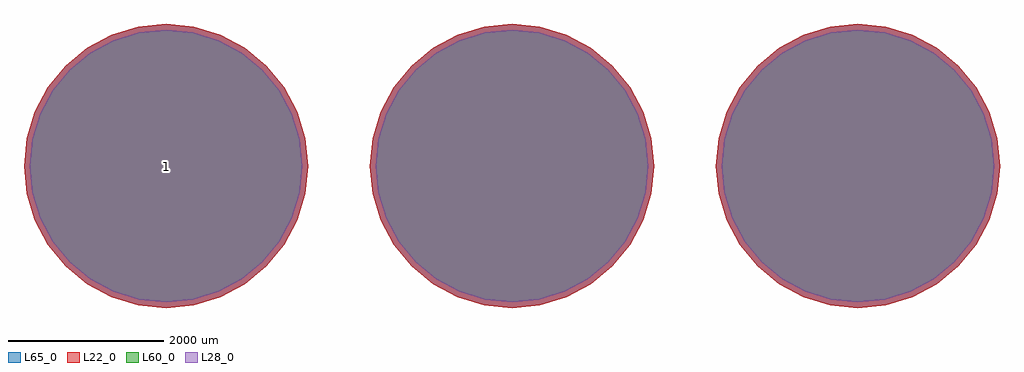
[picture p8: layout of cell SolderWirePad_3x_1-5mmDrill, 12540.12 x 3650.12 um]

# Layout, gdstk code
import gdstk
lib = gdstk.Library(unit=1e-6, precision=1e-09)
def P(c, l, *ps):  # polygons
    for p in ps: c.add(gdstk.Polygon(p, *l))
L22_0 = (22, 0)
L28_0 = (28, 0)
L60_0 = (60, 0)
L65_0 = (65, 0)

solderwirepad_3x_1_5mmdr = lib.new_cell('SolderWirePad_3x_1-5mmDrill')
P(solderwirepad_3x_1_5mmdr, L22_0, [(6270.06,0),(6234.992,356.052),(6131.136,698.42),(5962.482,1013.949),(5735.512,1290.512),(5458.949,1517.482),(5143.42,1686.136),(4801.052,1789.992),(4445,1825.06),(4088.948,1789.992),(3746.58,1686.136),(3431.051,1517.482),(3154.488,1290.512),(2927.518,1013.949),(2758.864,698.42),(2655.008,356.052),(2619.94,0),(2655.008,-356.052),(2758.864,-698.42),(2927.518,-1013.949),(3154.488,-1290.512),(3431.051,-1517.482),(3746.58,-1686.136),(4088.948,-1789.992),(4445,-1825.06),(4801.052,-1789.992),(5143.42,-1686.136),(5458.949,-1517.482),(5735.512,-1290.512),(5962.482,-1013.949),(6131.136,-698.42),(6234.992,-356.052)],
  [(1825.06,0),(1789.992,356.052),(1686.136,698.42),(1517.482,1013.949),(1290.512,1290.512),(1013.949,1517.482),(698.42,1686.136),(356.052,1789.992),(0,1825.06),(-356.052,1789.992),(-698.42,1686.136),(-1013.949,1517.482),(-1290.512,1290.512),(-1517.482,1013.949),(-1686.136,698.42),(-1789.992,356.052),(-1825.06,0),(-1789.992,-356.052),(-1686.136,-698.42),(-1517.482,-1013.949),(-1290.512,-1290.512),(-1013.949,-1517.482),(-698.42,-1686.136),(-356.052,-1789.992),(0,-1825.06),(356.052,-1789.992),(698.42,-1686.136),(1013.949,-1517.482),(1290.512,-1290.512),(1517.482,-1013.949),(1686.136,-698.42),(1789.992,-356.052)],
  [(-2619.94,0),(-2655.008,356.052),(-2758.864,698.42),(-2927.518,1013.949),(-3154.488,1290.512),(-3431.051,1517.482),(-3746.58,1686.136),(-4088.948,1789.992),(-4445,1825.06),(-4801.052,1789.992),(-5143.42,1686.136),(-5458.949,1517.482),(-5735.512,1290.512),(-5962.482,1013.949),(-6131.136,698.42),(-6234.992,356.052),(-6270.06,0),(-6234.992,-356.052),(-6131.136,-698.42),(-5962.482,-1013.949),(-5735.512,-1290.512),(-5458.949,-1517.482),(-5143.42,-1686.136),(-4801.052,-1789.992),(-4445,-1825.06),(-4088.948,-1789.992),(-3746.58,-1686.136),(-3431.051,-1517.482),(-3154.488,-1290.512),(-2927.518,-1013.949),(-2758.864,-698.42),(-2655.008,-356.052)])
P(solderwirepad_3x_1_5mmdr, L28_0, [(6195.06,0),(6161.433,341.42),(6061.845,669.719),(5900.122,972.281),(5682.479,1237.479),(5417.281,1455.122),(5114.719,1616.845),(4786.42,1716.433),(4445,1750.06),(4103.58,1716.433),(3775.281,1616.845),(3472.719,1455.122),(3207.521,1237.479),(2989.878,972.281),(2828.155,669.719),(2728.567,341.42),(2694.94,0),(2728.567,-341.42),(2828.155,-669.719),(2989.878,-972.281),(3207.521,-1237.479),(3472.719,-1455.122),(3775.281,-1616.845),(4103.58,-1716.433),(4445,-1750.06),(4786.42,-1716.433),(5114.719,-1616.845),(5417.281,-1455.122),(5682.479,-1237.479),(5900.122,-972.281),(6061.845,-669.719),(6161.433,-341.42)],
  [(1750.06,0),(1716.433,341.42),(1616.845,669.719),(1455.122,972.281),(1237.479,1237.479),(972.281,1455.122),(669.719,1616.845),(341.42,1716.433),(0,1750.06),(-341.42,1716.433),(-669.719,1616.845),(-972.281,1455.122),(-1237.479,1237.479),(-1455.122,972.281),(-1616.845,669.719),(-1716.433,341.42),(-1750.06,0),(-1716.433,-341.42),(-1616.845,-669.719),(-1455.122,-972.281),(-1237.479,-1237.479),(-972.281,-1455.122),(-669.719,-1616.845),(-341.42,-1716.433),(0,-1750.06),(341.42,-1716.433),(669.719,-1616.845),(972.281,-1455.122),(1237.479,-1237.479),(1455.122,-972.281),(1616.845,-669.719),(1716.433,-341.42)],
  [(-2694.94,0),(-2728.567,341.42),(-2828.155,669.719),(-2989.878,972.281),(-3207.521,1237.479),(-3472.719,1455.122),(-3775.281,1616.845),(-4103.58,1716.433),(-4445,1750.06),(-4786.42,1716.433),(-5114.719,1616.845),(-5417.281,1455.122),(-5682.479,1237.479),(-5900.122,972.281),(-6061.845,669.719),(-6161.433,341.42),(-6195.06,0),(-6161.433,-341.42),(-6061.845,-669.719),(-5900.122,-972.281),(-5682.479,-1237.479),(-5417.281,-1455.122),(-5114.719,-1616.845),(-4786.42,-1716.433),(-4445,-1750.06),(-4103.58,-1716.433),(-3775.281,-1616.845),(-3472.719,-1455.122),(-3207.521,-1237.479),(-2989.878,-972.281),(-2828.155,-669.719),(-2728.567,-341.42)])
P(solderwirepad_3x_1_5mmdr, L60_0, [(6195.06,0),(6161.433,341.42),(6061.845,669.719),(5900.122,972.281),(5682.479,1237.479),(5417.281,1455.122),(5114.719,1616.845),(4786.42,1716.433),(4445,1750.06),(4103.58,1716.433),(3775.281,1616.845),(3472.719,1455.122),(3207.521,1237.479),(2989.878,972.281),(2828.155,669.719),(2728.567,341.42),(2694.94,0),(2728.567,-341.42),(2828.155,-669.719),(2989.878,-972.281),(3207.521,-1237.479),(3472.719,-1455.122),(3775.281,-1616.845),(4103.58,-1716.433),(4445,-1750.06),(4786.42,-1716.433),(5114.719,-1616.845),(5417.281,-1455.122),(5682.479,-1237.479),(5900.122,-972.281),(6061.845,-669.719),(6161.433,-341.42)],
  [(1750.06,0),(1716.433,341.42),(1616.845,669.719),(1455.122,972.281),(1237.479,1237.479),(972.281,1455.122),(669.719,1616.845),(341.42,1716.433),(0,1750.06),(-341.42,1716.433),(-669.719,1616.845),(-972.281,1455.122),(-1237.479,1237.479),(-1455.122,972.281),(-1616.845,669.719),(-1716.433,341.42),(-1750.06,0),(-1716.433,-341.42),(-1616.845,-669.719),(-1455.122,-972.281),(-1237.479,-1237.479),(-972.281,-1455.122),(-669.719,-1616.845),(-341.42,-1716.433),(0,-1750.06),(341.42,-1716.433),(669.719,-1616.845),(972.281,-1455.122),(1237.479,-1237.479),(1455.122,-972.281),(1616.845,-669.719),(1716.433,-341.42)],
  [(-2694.94,0),(-2728.567,341.42),(-2828.155,669.719),(-2989.878,972.281),(-3207.521,1237.479),(-3472.719,1455.122),(-3775.281,1616.845),(-4103.58,1716.433),(-4445,1750.06),(-4786.42,1716.433),(-5114.719,1616.845),(-5417.281,1455.122),(-5682.479,1237.479),(-5900.122,972.281),(-6061.845,669.719),(-6161.433,341.42),(-6195.06,0),(-6161.433,-341.42),(-6061.845,-669.719),(-5900.122,-972.281),(-5682.479,-1237.479),(-5417.281,-1455.122),(-5114.719,-1616.845),(-4786.42,-1716.433),(-4445,-1750.06),(-4103.58,-1716.433),(-3775.281,-1616.845),(-3472.719,-1455.122),(-3207.521,-1237.479),(-2989.878,-972.281),(-2828.155,-669.719),(-2728.567,-341.42)])
P(solderwirepad_3x_1_5mmdr, L65_0, [(6270.06,0),(6234.992,356.052),(6131.136,698.42),(5962.482,1013.949),(5735.512,1290.512),(5458.949,1517.482),(5143.42,1686.136),(4801.052,1789.992),(4445,1825.06),(4088.948,1789.992),(3746.58,1686.136),(3431.051,1517.482),(3154.488,1290.512),(2927.518,1013.949),(2758.864,698.42),(2655.008,356.052),(2619.94,0),(2655.008,-356.052),(2758.864,-698.42),(2927.518,-1013.949),(3154.488,-1290.512),(3431.051,-1517.482),(3746.58,-1686.136),(4088.948,-1789.992),(4445,-1825.06),(4801.052,-1789.992),(5143.42,-1686.136),(5458.949,-1517.482),(5735.512,-1290.512),(5962.482,-1013.949),(6131.136,-698.42),(6234.992,-356.052)],
  [(1825.06,0),(1789.992,356.052),(1686.136,698.42),(1517.482,1013.949),(1290.512,1290.512),(1013.949,1517.482),(698.42,1686.136),(356.052,1789.992),(0,1825.06),(-356.052,1789.992),(-698.42,1686.136),(-1013.949,1517.482),(-1290.512,1290.512),(-1517.482,1013.949),(-1686.136,698.42),(-1789.992,356.052),(-1825.06,0),(-1789.992,-356.052),(-1686.136,-698.42),(-1517.482,-1013.949),(-1290.512,-1290.512),(-1013.949,-1517.482),(-698.42,-1686.136),(-356.052,-1789.992),(0,-1825.06),(356.052,-1789.992),(698.42,-1686.136),(1013.949,-1517.482),(1290.512,-1290.512),(1517.482,-1013.949),(1686.136,-698.42),(1789.992,-356.052)],
  [(-2619.94,0),(-2655.008,356.052),(-2758.864,698.42),(-2927.518,1013.949),(-3154.488,1290.512),(-3431.051,1517.482),(-3746.58,1686.136),(-4088.948,1789.992),(-4445,1825.06),(-4801.052,1789.992),(-5143.42,1686.136),(-5458.949,1517.482),(-5735.512,1290.512),(-5962.482,1013.949),(-6131.136,698.42),(-6234.992,356.052),(-6270.06,0),(-6234.992,-356.052),(-6131.136,-698.42),(-5962.482,-1013.949),(-5735.512,-1290.512),(-5458.949,-1517.482),(-5143.42,-1686.136),(-4801.052,-1789.992),(-4445,-1825.06),(-4088.948,-1789.992),(-3746.58,-1686.136),(-3431.051,-1517.482),(-3154.488,-1290.512),(-2927.518,-1013.949),(-2758.864,-698.42),(-2655.008,-356.052)])
solderwirepad_3x_1_5mmdr.add(gdstk.Label('1', (-4445,0), layer=28, texttype=0))
solderwirepad_3x_1_5mmdr.add(gdstk.Label('type', (1270,-3810), layer=9, texttype=0))
solderwirepad_3x_1_5mmdr.add(gdstk.Label('devicename', (0,3810), layer=9, texttype=0))

lib.write_gds('SolderWirePad_3x_1-5mmDrill.gds')
